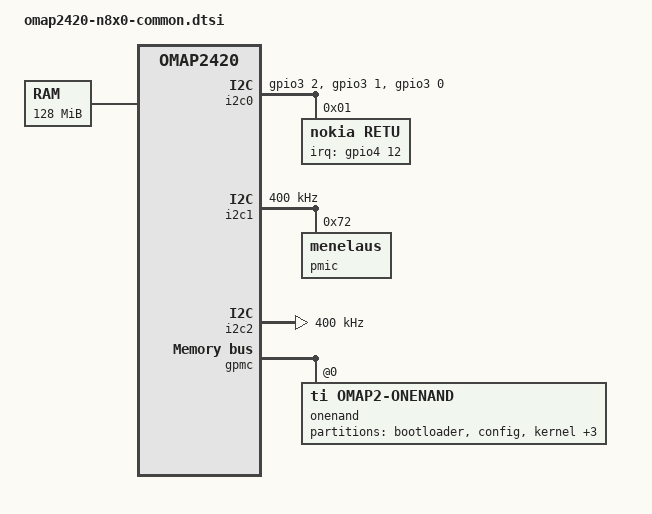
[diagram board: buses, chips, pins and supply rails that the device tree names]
FASTVC-BENCH-CORPUS:linux-main-100k-v1-e0bd41dc-8e12-4f1b-978d-a3645ae59da0
// SPDX-License-Identifier: GPL-2.0
#include "omap2420.dtsi"

/ {
	memory@80000000 {
		device_type = "memory";
		reg = <0x80000000 0x8000000>; /* 128 MB */
	};

	chosen {
		stdout-path = &uart3;
	};

	ocp {
		i2c0 {
			compatible = "i2c-cbus-gpio";
			gpios = <&gpio3 2 GPIO_ACTIVE_HIGH /* gpio66 clk */
				 &gpio3 1 GPIO_ACTIVE_HIGH /* gpio65 dat */
				 &gpio3 0 GPIO_ACTIVE_HIGH /* gpio64 sel */
				>;
			#address-cells = <1>;
			#size-cells = <0>;
			retu: retu@1 {
				compatible = "nokia,retu";
				interrupt-parent = <&gpio4>;
				interrupts = <12 IRQ_TYPE_EDGE_RISING>;
				reg = <0x1>;
			};
		};
	};
};

&i2c1 {
	clock-frequency = <400000>;

	pmic@72 {
		compatible = "menelaus";
		reg = <0x72>;
		interrupts = <7 IRQ_TYPE_EDGE_RISING>;
	};
};

&i2c2 {
	clock-frequency = <400000>;
};

&gpmc {
	ranges = <0 0 0x04000000 0x1000000>;	/* CS0: 16MB for OneNAND */

	/* gpio-irq for dma: 26 */

	onenand@0,0 {
		#address-cells = <1>;
		#size-cells = <1>;
		compatible = "ti,omap2-onenand";
		reg = <0 0 0x20000>;	/* CS0, offset 0, IO size 128K */

		gpmc,sync-read;
		gpmc,burst-length = <16>;
		gpmc,burst-read;
		gpmc,burst-wrap;
		gpmc,device-width = <2>;
		gpmc,mux-add-data = <2>;
		gpmc,cs-on-ns = <0>;
		gpmc,cs-rd-off-ns = <127>;
		gpmc,cs-wr-off-ns = <109>;
		gpmc,adv-on-ns = <0>;
		gpmc,adv-rd-off-ns = <18>;
		gpmc,adv-wr-off-ns = <18>;
		gpmc,oe-on-ns = <27>;
		gpmc,oe-off-ns = <127>;
		gpmc,we-on-ns = <27>;
		gpmc,we-off-ns = <72>;
		gpmc,rd-cycle-ns = <145>;
		gpmc,wr-cycle-ns = <136>;
		gpmc,access-ns = <118>;
		gpmc,page-burst-access-ns = <27>;
		gpmc,bus-turnaround-ns = <0>;
		gpmc,cycle2cycle-delay-ns = <0>;
		gpmc,wait-monitoring-ns = <0>;
		gpmc,clk-activation-ns = <9>;
		gpmc,sync-clk-ps = <27000>;

		/* MTD partition table corresponding to old board-n8x0 file. */
		partition@0 {
			label = "bootloader";
			reg = <0x00000000 0x00020000>;
/* bench 13880.0.0 5689394bc67c */
/* bench 13880.0.1 ee30346fb59e */
/* bench 13880.0.2 aa3e005a7b83 */
/* bench 13880.0.3 43cfa553021e */
/* bench 13880.0.4 a26004c7af71 */
/* bench 13880.0.5 7c099082b5b4 */
/* bench 13880.0.6 9a6fbdb4c40d */
/* bench 13880.0.7 3566c600bfa6 */
/* bench 13880.0.8 23d387e6e9f0 */
/* bench 13880.0.9 b7ea3162f4c3 */
/* bench 13880.0.10 8f74db616352 */
/* bench 13880.0.11 d61d25084f4e */
/* bench 13880.0.12 889709037835 */
/* bench 13880.0.13 948bd7e8e33f */
/* bench 13880.0.14 5204a4ce69e8 */
/* bench 13880.0.15 587ab4d8e516 */
			read-only;
		};
		partition@1 {
			label = "config";
			reg = <0x00020000 0x00060000>;
		};
		partition@2 {
			label = "kernel";
			reg = <0x00080000 0x00200000>;
		};
		partition@3 {
			label = "initfs";
			reg = <0x00280000 0x00400000>;
		};
		partition@4 {
			label = "rootfs";
			reg = <0x00680000 0x0f980000>;
		};
		partition@5 {
			label = "omap2-onenand";
			reg = <0x00000000 0x10000000>;
		};
	};
};
